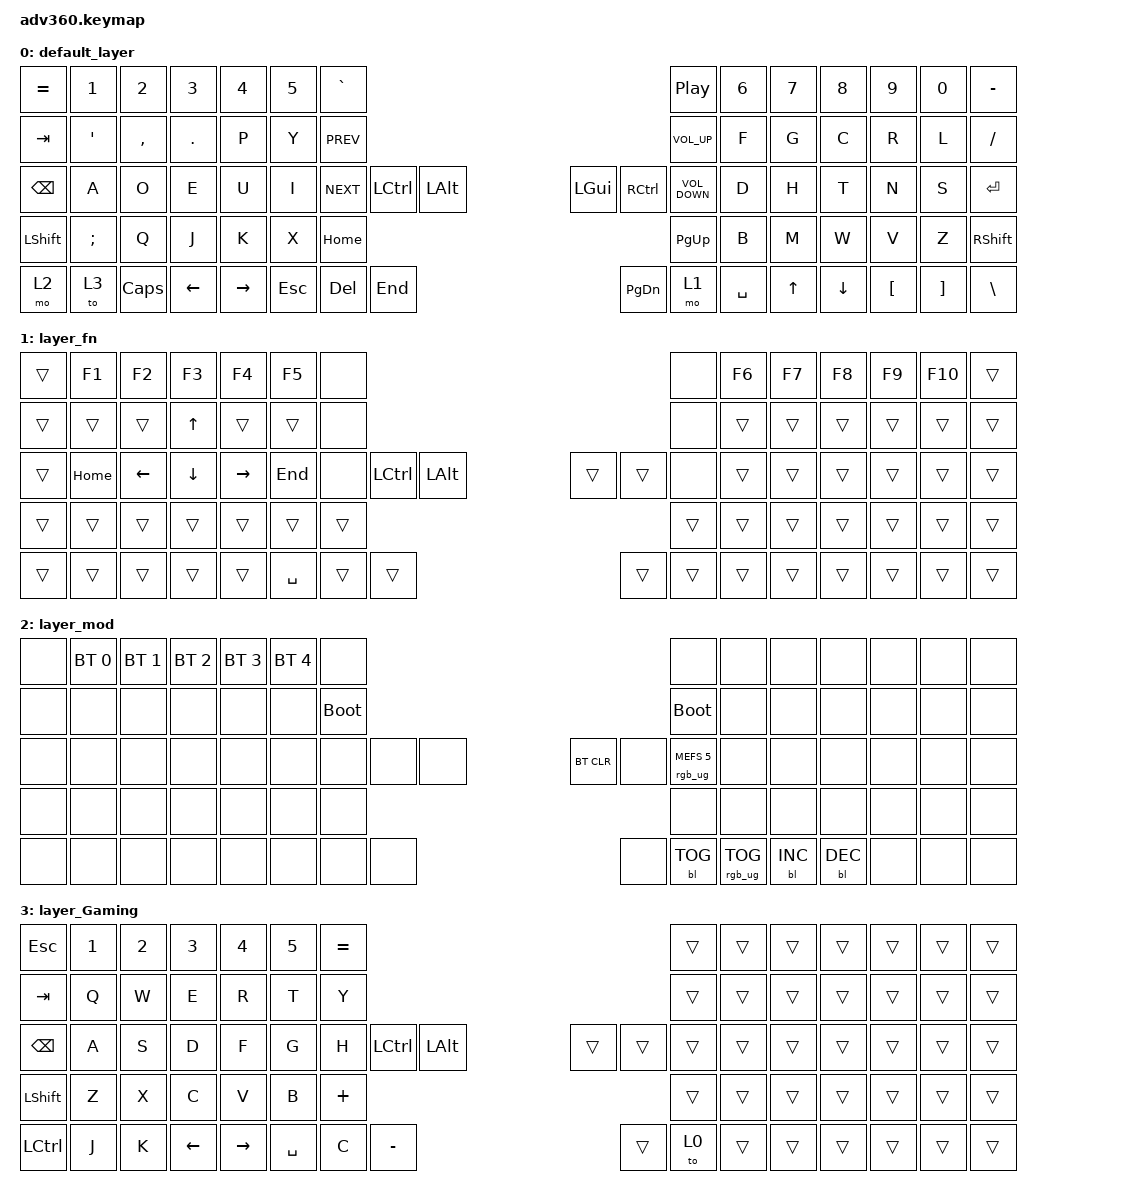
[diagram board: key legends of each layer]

/*
 * Copyright (c) 2020 The ZMK Contributors
 *
 * SPDX-License-Identifier: MIT
 */


/* THIS FILE WAS GENERATED!
 *
 * This file was generated automatically. You may or may not want to
 * edit it directly.
 */

#include <behaviors.dtsi>
#include <dt-bindings/zmk/keys.h>
#include <dt-bindings/zmk/bt.h>
#include <dt-bindings/zmk/rgb.h>
#include <dt-bindings/zmk/backlight.h>

/ {
  behaviors {
    #include "macros.dtsi"
    #include "version.dtsi"

    hm: homerow_mods {
        compatible = "zmk,behavior-hold-tap";
        label = "HOMEROW_MODS";
        #binding-cells = <2>;
        tapping-term-ms = <200>;
        quick_tap_ms = <175>;
        flavor = "tap-preferred";
        bindings = <&kp>, <&kp>;
    };
  };

    keymap {
        compatible = "zmk,keymap";


        default_layer {
            bindings = <
 &kp EQUAL    &kp N1     &kp N2      &kp N3     &kp N4  &kp N5             &kp GRAVE                                                                      &kp C_PP  &kp N6  &kp N7    &kp N8    &kp N9    &kp N0  &kp MINUS
   &kp TAB   &kp SQT  &kp COMMA  &kp PERIOD      &kp P   &kp Y            &kp C_PREV                                                                  &kp C_VOL_UP   &kp F   &kp G     &kp C     &kp R     &kp L   &kp FSLH
  &kp BSPC     &kp A      &kp O       &kp E      &kp U   &kp I            &kp C_NEXT  &kp LCTRL  &kp LALT                   &kp LGUI  &kp RCTRL  &kp C_VOLUME_DOWN   &kp D   &kp H     &kp T     &kp N     &kp S  &kp ENTER
 &kp LSHFT  &kp SEMI      &kp Q       &kp J      &kp K   &kp X                                   &kp HOME                  &kp PG_UP                                 &kp B   &kp M     &kp W     &kp V     &kp Z  &kp RSHFT
     &mo 2     &to 3   &kp CAPS    &kp LEFT  &kp RIGHT                       &kp ESC    &kp DEL   &kp END                  &kp PG_DN      &mo 1          &kp SPACE          &kp UP  &kp DOWN  &kp LBKT  &kp RBKT   &kp BSLH
            >;
        };

        layer_fn {
            bindings = <
 &trans    &kp F1    &kp F2    &kp F3     &kp F4   &kp F5                &none                                                                   &none  &kp F6  &kp F7  &kp F8  &kp F9  &kp F10  &trans
 &trans    &trans    &trans    &kp UP     &trans   &trans                &none                                                                   &none  &trans  &trans  &trans  &trans   &trans  &trans
 &trans  &kp HOME  &kp LEFT  &kp DOWN  &kp RIGHT  &kp END                &none  &kp LEFT_CONTROL  &kp LEFT_ALT                  &trans  &trans   &none  &trans  &trans  &trans  &trans   &trans  &trans
 &trans    &trans    &trans    &trans     &trans   &trans                                               &trans                  &trans                  &trans  &trans  &trans  &trans   &trans  &trans
 &trans    &trans    &trans    &trans     &trans                     &kp SPACE            &trans        &trans                  &trans  &trans  &trans          &trans  &trans  &trans   &trans  &trans
            >;
        };

        layer_mod {
            bindings = <
  &none  &bt BT_SEL 0  &bt BT_SEL 1  &bt BT_SEL 2  &bt BT_SEL 3  &bt BT_SEL 4                  &none                                                                           &none   &none       &none       &none   &none   &none   &none
  &none         &none         &none         &none         &none         &none            &bootloader                                                                     &bootloader   &none       &none       &none   &none   &none   &none
  &none         &none         &none         &none         &none         &none                  &none   &none   &none                  &bt BT_CLR       &none  &rgb_ug RGB_MEFS_CMD 5   &none       &none       &none   &none   &none   &none
  &none         &none         &none         &none         &none         &none                                  &none                       &none                                       &none       &none       &none   &none   &none   &none
  &none         &none         &none         &none         &none                                &none   &none   &none                       &none  &bl BL_TOG         &rgb_ug RGB_TOG          &bl BL_INC  &bl BL_DEC   &none   &none   &none
            >;
        };

        layer_Gaming {
            bindings = <
       &kp ESCAPE  &kp NUMBER_1  &kp N2          &kp N3           &kp N4  &kp NUMBER_5            &kp EQUAL                                                                  &trans  &trans  &trans  &trans  &trans  &trans  &trans
          &kp TAB         &kp Q   &kp W           &kp E            &kp R         &kp T                &kp Y                                                                  &trans  &trans  &trans  &trans  &trans  &trans  &trans
         &kp BSPC         &kp A   &kp S           &kp D            &kp F         &kp G                &kp H  &kp LEFT_CONTROL  &kp LEFT_ALT                  &trans  &trans  &trans  &trans  &trans  &trans  &trans  &trans  &trans
   &kp LEFT_SHIFT         &kp Z   &kp X           &kp C            &kp V         &kp B                                             &kp PLUS                  &trans                  &trans  &trans  &trans  &trans  &trans  &trans
 &kp LEFT_CONTROL         &kp J   &kp K  &kp LEFT_ARROW  &kp RIGHT_ARROW                          &kp SPACE             &kp C     &kp MINUS                  &trans   &to 0  &trans          &trans  &trans  &trans  &trans  &trans
            >;
        };

    };
};
